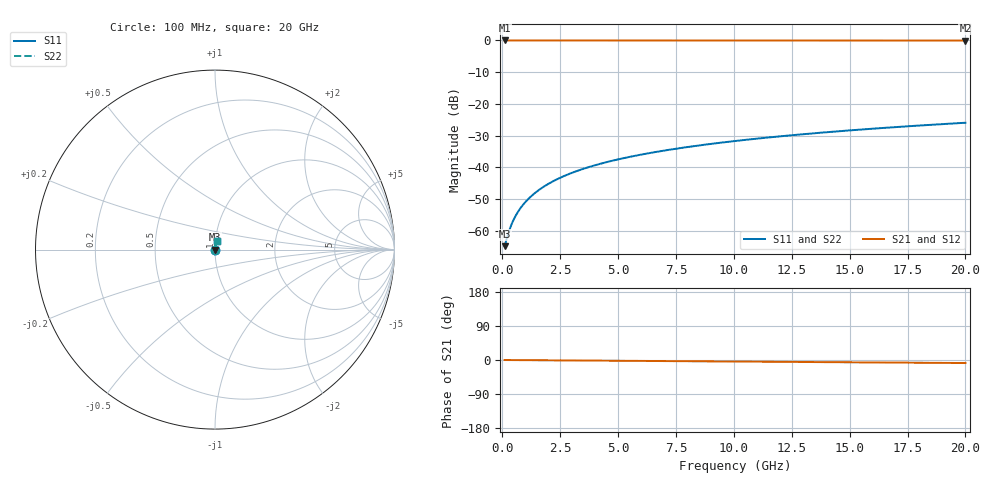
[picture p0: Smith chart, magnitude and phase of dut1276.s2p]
! Touchstone file exported from HFSS 2026.1.0
!  File:  C:/ffzhzh/LocalFiles/Ansys_Project_Files/temp_train_TSV_1276_1783194220_22436.aedt
!  Generated:  03:45:55 AM Jul  5, 2026
!  Design:  TSV
!  Project:  temp_train_TSV_1276_1783194220_22436
! Variables:
!  h_bsmrdl = 2um
!  h_ox = 20um
!  h_rdl = 5um
!  h_sub = 76.53um
!  h_tmrdl = 5um
!  h_tsv = 76.53um
!  h_via = 3um
!  l_bsmrdl = 300um
!  l_sub = 408.76um
!  l_tmrdl = 200um
!  m_sub = 200um
!  pitch = 30.46um
!  r_tsv = 4.38um
!  s_tmrdl = 10um
!  w_bsmrdl = 18um
!  w_sub = 500um
!  w_tmrdl = 12um
!  x_tsv_center1 = 206um
!  x_tsv_center2 = 524um
!  x_tsv_center3 = 736um
!  x_tsv_center4 = 1054um
!  x_tsv_center5 = 1266um
!  x_tsv_center6 = 1584um
# GHz S MA R 50.000000
! Terminal data exported
! Port[1] = TSV1_1_T1
! Port[2] = TSV1_1_T2
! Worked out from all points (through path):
!   200 points, 100 MHz to 20 GHz, reference 50 ohm
!   highest |S21| = 0.00 dB at 100 MHz (marker M1); lowest = 0.0 dB at 20 GHz (marker M2)
!   group delay of S21, straight-line fit = 1.11 ps
!   lowest |S11| = -64.9 dB at 100 MHz (marker M3), VSWR 1.00, Z = 50 + j0.0294 ohm
!   |S11| at or under -10 dB: start of sweep to end of sweep
!   |S22| runs from -64.9 to -26.0 dB; largest |S21 - S12| = 2.2e-15
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0.1  0.00057 31.0  0.9995 -0.0  0.9995 -0.0  0.00057 31.0
! Gamma 0 0 0 0
! Port Impedance 50 0 50 0
0.2  0.0007686 49.3  0.9995 -0.1  0.9995 -0.1  0.0007686 49.3
0.3  0.001008 59.1  0.9995 -0.1  0.9995 -0.1  0.001008 59.1
0.4  0.001261 64.9  0.9995 -0.2  0.9995 -0.2  0.001261 64.9
0.5  0.001519 68.8  0.9995 -0.2  0.9995 -0.2  0.001519 68.8
0.6  0.00178 71.5  0.9994 -0.3  0.9994 -0.3  0.00178 71.5
0.8  0.002306 75.1  0.9994 -0.3  0.9994 -0.3  0.002306 75.1
1.1  0.003102 78.2  0.9994 -0.5  0.9994 -0.5  0.003102 78.2
1.3  0.003636 79.5  0.9994 -0.5  0.9994 -0.5  0.003636 79.5
1.6  0.004438 80.8  0.9993 -0.7  0.9993 -0.7  0.004438 80.8
2.1  0.005772 82.0  0.9993 -0.9  0.9993 -0.9  0.005772 82.0
2.7  0.007362 82.6  0.9992 -1.1  0.9992 -1.1  0.007362 82.6
3.5  0.009459 83.0  0.999 -1.4  0.999 -1.4  0.009459 83.0
4.2  0.01127 83.1  0.9989 -1.7  0.9989 -1.7  0.01127 83.1
5  0.01332 83.1  0.9988 -2.0  0.9988 -2.0  0.01332 83.1
5.9  0.0156 83.0  0.9986 -2.4  0.9986 -2.4  0.0156 83.0
6.8  0.01786 82.8  0.9985 -2.8  0.9985 -2.8  0.01786 82.8
8.3  0.0216 82.6  0.9982 -3.4  0.9982 -3.4  0.0216 82.6
10.1  0.02607 82.2  0.998 -4.1  0.998 -4.1  0.02607 82.2
13.4  0.03422 81.4  0.9975 -5.4  0.9975 -5.4  0.03422 81.4
16.7  0.04232 80.4  0.997 -6.7  0.997 -6.7  0.04232 80.4
20  0.05036 79.3  0.9964 -8.0  0.9964 -8.0  0.05036 79.3
